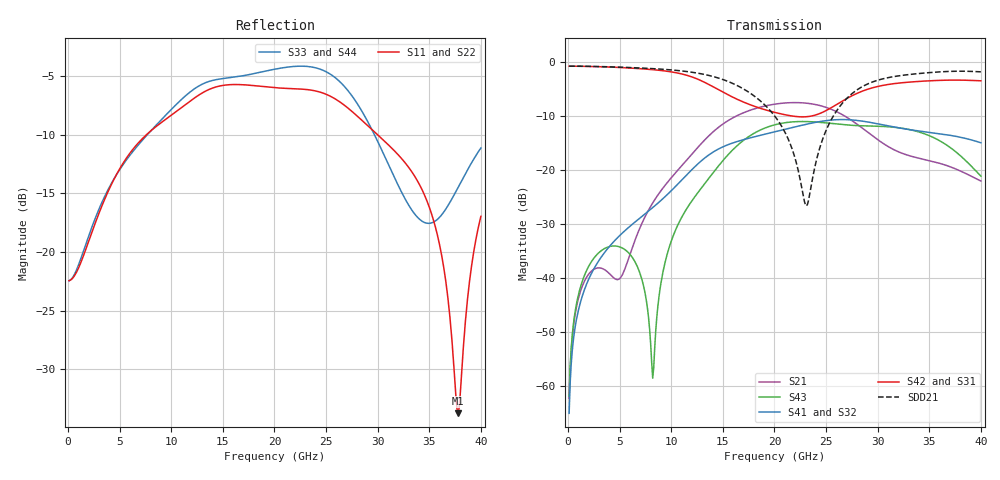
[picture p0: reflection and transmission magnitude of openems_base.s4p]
! E_s8_L1L3_p1000_round_g2: pair L1→L3, pitch 1 mm, two round antipads, 2 GND vias
! stackup: 8-layer 1.6 mm FR-4 (generic)
! ports: 1 P near, 2 N near, 3 P far, 4 N far
! openEMS 0.37.0, staircase, base mesh (dfine 0.035 mm), 768105 cells
# Hz S RI R 50
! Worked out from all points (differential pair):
!   400 points, 100 MHz to 40 GHz, reference 50 ohm
!   strongest paths, dB at 100 MHz, 10.1 GHz, 20.1 GHz, 30.1 GHz, 40 GHz:
!     S42: -0.7, -1.8, -9.3, -4.4, -3.4
!     S31: -0.7, -1.8, -9.3, -4.4, -3.4
!     S41: -65.1, -23.6, -12.8, -11.4, -14.9
!     S32: -65.1, -23.6, -12.8, -11.4, -14.9
!     S43: -61.9, -32.6, -11.5, -11.8, -21.1
!     S21: -62.3, -21.2, -7.7, -14.5, -22.0
!   taken as a pair (ports 2,1 in; 4,3 out), SDD21 dB: -0.7, -1.4, -10.1, -3.2, -1.7
!   lowest |S11| = -33.8 dB at 37.8 GHz (marker M1), VSWR 1.04, Z = 52.1 + j0.264 ohm
!   |S11| at or under -10 dB: start of sweep to 7.602 GHz; 29.98 GHz to end of sweep
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1e8  -0.0754 -0.00171  0.000353 0.000681  0.9238 -0.0351  0.000159 -0.000538
     0.000353 0.000681  -0.0754 -0.00171  0.000159 -0.000538  0.9238 -0.0351
     0.9238 -0.0351  0.000154 -0.000535  -0.0754 -0.00171  0.000345 0.000721
     0.000154 -0.000535  0.9238 -0.0351  0.000345 0.000721  -0.0754 -0.00171
3.8e9  -0.1772 0.0154  0.0114 0.00139  0.1178 -0.9015  -0.0185 0.00128
       0.0114 0.00139  -0.1772 0.0154  -0.0185 0.00128  0.1178 -0.9015
       0.1169 -0.9016  -0.0186 0.0013  -0.1754 0.0468  0.0189 0.00391
       -0.0186 0.0013  0.1169 -0.9016  0.0189 0.00391  -0.1754 0.0468
8.1e9  -0.00098 0.3305  0.0477 0.00519  -0.8584 -0.0473  0.0154 0.0414
       0.0477 0.00519  -0.00098 0.3305  0.0154 0.0414  -0.8584 -0.0473
       -0.8586 -0.0452  0.0156 0.0414  7.2e-05 0.331  -0.000988 -0.00133
       0.0156 0.0414  -0.8586 -0.0452  -0.000988 -0.00133  7.2e-05 0.331
1.75e10  -0.4314 -0.2793  -0.0638 0.3509  0.4027 -0.0839  -0.0528 0.1911
         -0.0638 0.3509  -0.4314 -0.2793  -0.0528 0.1911  0.4027 -0.0839
         0.4016 -0.0852  -0.0515 0.1914  -0.4565 -0.3404  0.00965 0.2051
         -0.0515 0.1914  0.4016 -0.0852  0.00965 0.2051  -0.4565 -0.3404
2.93e10  0.1789 -0.2855  -0.0545 0.2088  -0.5636 0.1241  0.0722 0.2692
         -0.0545 0.2088  0.1789 -0.2855  0.0722 0.2692  -0.5636 0.1241
         -0.5607 0.1293  0.073 0.268  0.2323 -0.2502  0.039 0.2544
         0.073 0.268  -0.5607 0.1293  0.039 0.2544  0.2323 -0.2502
3.78e10  0.0204 0.00253  -0.0216 -0.0983  0.6559 -0.2087  -0.173 -0.1119
         -0.0216 -0.0983  0.0204 0.00253  -0.173 -0.1119  0.6559 -0.2087
         0.6531 -0.2117  -0.171 -0.1122  -0.1839 0.0422  -0.1014 -0.0997
         -0.171 -0.1122  0.6531 -0.2117  -0.1014 -0.0997  -0.1839 0.0422
4e10  -0.085 -0.1134  -0.0776 -0.0173  0.2936 -0.6066  -0.1661 0.0705
      -0.0776 -0.0173  -0.085 -0.1134  -0.1661 0.0705  0.2936 -0.6066
      0.2899 -0.611  -0.166 0.0694  -0.1937 0.1985  -0.0853 0.0228
      -0.166 0.0694  0.2899 -0.611  -0.0853 0.0228  -0.1937 0.1985
